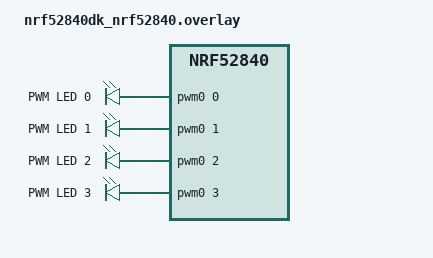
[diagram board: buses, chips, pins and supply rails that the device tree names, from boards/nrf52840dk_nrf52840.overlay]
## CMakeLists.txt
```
#-------------------------------------------------------------------------------
# Zephyr Example Application
#
# Copyright (c) 2021 Nordic Semiconductor ASA
# SPDX-License-Identifier: Apache-2.0

cmake_minimum_required(VERSION 3.13.1)
find_package(Zephyr REQUIRED HINTS $ENV{ZEPHYR_BASE})

project(app LANGUAGES C)

zephyr_include_directories(src)

target_sources(app PRIVATE src/main.c)
target_sources(app PRIVATE src/Alien_thing.c)
```

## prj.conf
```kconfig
# Copyright (c) 2021 Nordic Semiconductor ASA
# SPDX-License-Identifier: Apache-2.0
#
# This file contains selected Kconfig options for the application.

CONFIG_GPIO=y
CONFIG_PWM=y
CONFIG_SMF=y

CONFIG_DISPLAY=y
CONFIG_LVGL=y

CONFIG_LV_Z_MEM_POOL_SIZE=16384
CONFIG_MAIN_STACK_SIZE=4096

CONFIG_ENTROPY_GENERATOR=y

CONFIG_SYSTEM_WORKQUEUE_STACK_SIZE=2048
CONFIG_BT=y
CONFIG_BT_PERIPHERAL=y
CONFIG_BT_DEVICE_NAME="0591 EIE BLE Peripheral"
```

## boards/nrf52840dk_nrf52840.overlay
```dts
/ {
    pwmleds {
        compatible = "pwm-leds";
        pwm_led0: pwm_led_0 {
            pwms = <&pwm0 0 PWM_MSEC(20) PWM_POLARITY_NORMAL>;
            label = "PWM LED 0";
        };
        pwm_led1: pwm_led_1 {
            pwms = <&pwm0 1 PWM_MSEC(20) PWM_POLARITY_NORMAL>;
            label = "PWM LED 1";
        };
        pwm_led2: pwm_led_2 {
            pwms = <&pwm0 2 PWM_MSEC(20) PWM_POLARITY_NORMAL>;
            label = "PWM LED 2";
        };
        pwm_led3: pwm_led_3 {
            pwms = <&pwm0 3 PWM_MSEC(20) PWM_POLARITY_NORMAL>;
            label = "PWM LED 3";
        };
    };

    zephyr, user {
        dcx_gpios = <&gpiol 11 GPIO_ACTIVE_HIGH>;
    };

    arduino_spi {
        cs-gpios = <&gpio1 12 GPIO_ACTIVE_LOW>;
    };

    aliases {
        pwm-led0 = &pwm_led0;
        pwm-led1 = &pwm_led1;
        pwm-led2 = &pwm_led2;
        pwm-led3 = &pwm_led3;
    };
};

&pinctrl { 
    pwm0_default: pwm0_default {
		group1 {
			psels = 
                <NRF_PSEL(PWM_OUT0, 0, 13)>, 
                <NRF_PSEL(PWM_OUT1, 0, 14)>, 
                <NRF_PSEL(PWM_OUT2, 0, 15)>, 
                <NRF_PSEL(PWM_OUT3, 0, 16)>;
			nordic,invert;
		};
	};

    pwm0_sleep: pwm0_sleep {
		group1 {
			psels = 
                <NRF_PSEL(PWM_OUT0, 0, 13)>, 
                <NRF_PSEL(PWM_OUT1, 0, 14)>, 
                <NRF_PSEL(PWM_OUT2, 0, 15)>, 
                <NRF_PSEL(PWM_OUT3, 0, 16)>;
			low-power-enable;
		};
	};
};
```

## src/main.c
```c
/**
 * @file main.c
 */

#include <inttypes.h>

#include <zephyr/kernel.h>
#include <zephyr/sys/printk.h>
#include <zephyr/device.h>
#include <zephyr/drivers/display.h>
#include <zephyr/random/random.h>

#include <stdio.h>
#include <string.h>
#include <zephyr/bluetooth/bluetooth.h>
#include <zephyr/bluetooth/conn.h>
#include <zephyr/bluetooth/gatt.h>
#include <zephyr/bluetooth/hci.h>
#include <zephyr/bluetooth/uuid.h>
#include <zephyr/devicetree.h>
#include <zephyr/drivers/gpio.h>
#include <zephyr/settings/settings.h>

#include <lvgl.h>

#include "BTN.h"
#include "LED.h"

#define SLEEP_MS 1

// BLE UUIDs
#define BLE_SERVICE_UUID BT_UUID_128_ENCODE(0x12345678, 0x1234, 0x5678, 0x1234, 0x56789abcdef0)
#define BLE_CHARACTERISTIC_UUID BT_UUID_128_ENCODE(0x12345678, 0x1234, 0x5678, 0x1234, 0x56789abcdef1)

#define BLE_CHARACTERISTIC_VALUE_SIZE 20

// Advertising packets
static const struct bt_data ble_advertising_data[] = {
  BT_DATA_BYTES(BT_DATA_FLAGS, (BT_LE_AD_GENERAL | BT_LE_AD_NO_BREDR)),
  BT_DATA(BT_DATA_NAME_COMPLETE, CONFIG_BT_DEVICE_NAME, sizeof(CONFIG_BT_DEVICE_NAME)),
};

// Characteristic data buffer (initial value)
static uint8_t ble_characteristic_value[BLE_CHARACTERISTIC_VALUE_SIZE + 1]= {"S", "t", "a", "r", "t", "!"}; // Initial value of characteristic

// Service & characteristic description
static const struct bt_uuid_128 ble_service_uuid = BT_UUID_INIT_128(BLE_SERVICE_UUID);
static const struct bt_uuid_128 ble_characteristic_uuid = BT_UUID_INIT_128(BLE_CHARACTERISTIC_UUID);

static const struct device* display_dev = DEVICE_DT_GET(DT_CHOSEN(zephyr_display));
static lv_obj_t* screen = NULL;

/* POTHOLE */
static int16_t potholeHealth = 500;
static uint8_t potholeCooldown = 200;

/* OXYGEN */
static int8_t oxygens[] = {100, 100, 100, 100};
static uint8_t oxygenCooldown = 118;
static uint8_t numberOfLEDsOn = 4;
static uint8_t oxygenSubtract = 1;
static enum btn_id_t buttons[] = {BTN0, BTN1, BTN2, BTN3};

static void updatePothole();
static void updateOxygen();

static void pothole_Event(lv_event_t* e);

/* BLE FUNCTIONS */
static ssize_t ble_characteristic_read_cb(struct bt_conn* conn, const struct bt_gatt_attr* attr,
    void* buf, uint16_t len, uint16_t offset);

static ssize_t ble_characteristic_write_cb(struct bt_conn* conn, const struct bt_gatt_attr* attr,
    const void* buf, uint16_t len, uint16_t offset, uint8_t flags);

static void ble_service_notify();

BT_GATT_SERVICE_DEFINE(
  ble_service, // Name of struct with config
  BT_GATT_PRIMARY_SERVICE(&ble_service_uuid), // setting the service UUID

  // Separate service for notify subscription
  BT_GATT_CHARACTERISTIC(
    &ble_characteristic_uuid.uuid,  // Setting the characteristic UUID
    BT_GATT_CHRC_READ | BT_GATT_CHRC_NOTIFY | BT_GATT_CHRC_WRITE,  // Possible operations
    BT_GATT_PERM_READ | BT_GATT_PERM_WRITE,  // Permissions that connecting devices have
    ble_characteristic_read_cb,     // Callback for when this characteristic is read from
    ble_characteristic_write_cb,    // Callback for when this characteristic is written to
    ble_characteristic_value    // Initial data stored in this characteristic
  ),

  BT_GATT_CCC(  // Client characteristic configuration for the above custom characteristic
    NULL,     // Callback for when this characteristic is changed
    BT_GATT_PERM_READ | BT_GATT_PERM_WRITE  // Permissions that connecting devices have
  ),
);

int main(void) {
  int result = bt_enable(NULL);

  if (result) {
    printk("Bluetooth init failed (err %d)\n", result);
    return 0;
  }

  result = bt_le_adv_start(BT_LE_ADV_CONN_FAST_1, ble_advertising_data, ARRAY_SIZE(ble_advertising_data), 
    NULL, 0);

  if (result) {
    printk("Bluetooth init failed (err %d)\n", result);
    return 0;
  }

  if (!device_is_ready(display_dev)) {
    printk("Display device not found\n");
    return 0;
  }

  screen = lv_screen_active();

  if (screen == NULL) {
    printk("Failed to get active screen\n");
    return 0;
  }

  if (0 > BTN_init()) {
    return 0;
  }
  if (0 > LED_init()) {
    return 0;
  }

  /* POTHOLE WINDOW */
  LV_IMAGE_DECLARE(Alien_thing);

  lv_obj_t* btn = lv_imgbtn_create(screen);
  lv_imgbtn_set_src(btn, LV_IMGBTN_STATE_RELEASED, NULL, &Alien_thing, NULL);   // Set image
  lv_obj_add_event_cb(btn, pothole_Event, LV_EVENT_ALL, NULL);
  lv_obj_align(btn, LV_ALIGN_CENTER, 0, 0);                               

  lv_obj_t * label = lv_label_create(btn);
  lv_obj_center(label);
  lv_label_set_text(label, "");     // Remove text from button

  display_blanking_off(display_dev);

  while (1) {
    k_msleep(SLEEP_MS);

    lv_timer_handler();

    updatePothole();
    updateOxygen();

    potholeCooldown--;

    ble_service_notify();
  }
  return 0;
}

/* SUBTRACT POTHOLE HEALTH */
static void updatePothole() {
  if (potholeCooldown > 0) {
    return; // Skip if cooldown is active
  }

  printk("Pothole Health: %i\n", potholeHealth);
  
  potholeCooldown = 200; // Reset cooldown

  uint8_t a;
  
  if (potholeHealth <= 310) {
    a = sys_rand8_get() % 10;   // Get a random number between 0 and 9
  }
  else {
    a = sys_rand8_get() % 5;   // Get a random number between 0 and 4
  }

  if (potholeHealth > 0) {
    potholeHealth -= a;
  }
  if (potholeHealth < 0) {
    potholeHealth = 0;

    // GAME OVER
  }
}

/* SUBTRACT OXYGEN */
static void updateOxygen() {
  oxygenCooldown--;

  if (oxygenCooldown <= 0) {
    oxygenCooldown = 118;

    // Count how many LEDs are on
    numberOfLEDsOn = 0;

    // Decrease oxygen levels
    for (int i = 0; i < 4; i++) {
      if (oxygens[i] > 0) {
        oxygens[i] -= oxygenSubtract;
        numberOfLEDsOn++;
      }
      if (oxygens[i] < 0) oxygens[i] = 0;
    }

    // Speed up oxygen decrease based on number of LEDs on
    if (numberOfLEDsOn <= 1) {
      // GAME OVER
    }
    else if (numberOfLEDsOn == 2) {
      oxygenSubtract = 3;
    }
    else {
      oxygenSubtract = 1;
    }

    // Increase oxygen when buttons pressed
    for (int i = 0; i < 4; i++) {
      enum btn_id_t button = buttons[i];

      if (BTN_is_pressed(button) && oxygens[i] < 100) {
        if (oxygens[i] <= 0) {
          numberOfLEDsOn++;
        }

        oxygens[i] += 10;
      }
    }
  }

  // Update LED brightness based on oxygen levels
  LED_pwm(LED0, oxygens[0]);
  LED_pwm(LED1, oxygens[1]);
  LED_pwm(LED2, oxygens[2]);
  LED_pwm(LED3, oxygens[3]);
}

/* POTHOLE EVENT HANDLER */
static void pothole_Event(lv_event_t* e) {
  // Handle events here
  lv_event_code_t code = lv_event_get_code(e);

  if (code == LV_EVENT_CLICKED && potholeHealth < 500) {
    // Handle click event
    potholeHealth += 25; // Increase health when clicked

    if (potholeHealth > 500) {
      potholeHealth = 500; // Cap health at 500
    }
  }
}

// Read callback (send current stored value in characteristic)
static ssize_t ble_characteristic_read_cb(struct bt_conn* conn, const struct bt_gatt_attr* attr,
    void* buf, uint16_t len, uint16_t offset) {
      const char* value = attr->user_data;

      return bt_gatt_attr_read(conn, attr, buf, len, offset, value, strlen(value));
}

// Write callback (save to characteristic data buffer)
static ssize_t ble_characteristic_write_cb(struct bt_conn* conn, const struct bt_gatt_attr* attr,
    const void* buf, uint16_t len, uint16_t offset,
    uint8_t flags) {

  uint8_t* value_ptr = attr->user_data;

  // Check for valid offset and length
  if (offset + len > BLE_CHARACTERISTIC_VALUE_SIZE) {
    return BT_GATT_ERR(BT_ATT_ERR_INVALID_OFFSET);
  }

  memcpy(value_ptr + offset, buf, len);
  value_ptr[offset + len] = 0;

  return len;
}

static void ble_service_notify() {
  bt_gatt_notify(NULL, &ble_service.attrs[2], ble_characteristic_value, strlen(ble_characteristic_value));
}
```

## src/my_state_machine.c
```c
#include <zephyr/smf.h>

#include "LED.h"
#include "my_state_machine.h"

// Function Prototypes

static void led_on_state_entry(void* o);
static enum smf_state_result led_on_state_run(void* o);
static void led_off_state_entry(void* o);
static enum smf_state_result led_off_state_run(void* o);

// Typedefs
enum led_state_machine_states {
    LED_ON_STATE,
    LED_OFF_STATE
};

typedef struct {
    // COntext variable used by zephyr to track state machine state. Must be first
    struct smf_ctx ctx;

    uint16_t count;
} led_state_object_t;

// Local Variables
static const struct smf_state led_states[] = {
    [LED_ON_STATE] = SMF_CREATE_STATE(led_on_state_entry, led_on_state_run, NULL, NULL, NULL),
    [LED_OFF_STATE] = SMF_CREATE_STATE(led_off_state_entry, led_off_state_run, NULL, NULL, NULL)
};

static led_state_object_t led_state_object;

void state_machine_init() 
{
    led_state_object.count = 0;
    smf_set_initial(SMF_CTX(&led_state_object), &led_states[LED_ON_STATE]);
}

int state_machine_run() 
{
    return smf_run_state(SMF_CTX(&led_state_object));
}

static void led_on_state_entry(void* o) 
{
    LED_set(LED0, LED_ON);
}

static enum smf_state_result led_on_state_run(void* o)
{
    if (led_state_object.count > 500) {
        led_state_object.count = 0;
        smf_set_state(SMF_CTX(&led_state_object), &led_states[LED_OFF_STATE]);
    }
    else
    {
        led_state_object.count++;
    }

    return SMF_EVENT_HANDLED;
}

static void led_off_state_entry(void* o)
{
    LED_set(LED0, LED_OFF);
}

static enum smf_state_result led_off_state_run(void* o)
{
    if (led_state_object.count > 500)
    {
        led_state_object.count = 0;
        smf_set_state(SMF_CTX(&led_state_object), &led_states[LED_ON_STATE]);
    }
    else
    {
        led_state_object.count++;
    }

    return SMF_EVENT_HANDLED;
}
```

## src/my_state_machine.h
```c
/*
@file my_state_machine.h
*/

#ifndef MY_STATE_MACHINE_H
#define MY_STATE_MACHINE_H

void state_machine_init();

int state_machine_run();

#endif // MY_STATE_MACHINE_H
```

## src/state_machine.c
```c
#include <zephyr/smf.h>

#include "string.h"
#include "BTN.h"
#include "LED.h"
#include "string.h"
#include <math.h>

#include "state_machine.h"

/*
    FUNCTION PROTOTYPES
*/
static void enter_code_entry(void* o);
static enum smf_state_result enter_code_run(void* o);

static void save_string_entry(void* o);
static enum smf_state_result save_string_run(void* o);

static void send_monitor_entry(void* o);
static enum smf_state_result send_monitor_run(void* o);

static void on_hold_entry(void* o);
static enum smf_state_result on_hold_run(void* o);

/*
    TYPEDEFS (enum)
*/
enum machine_states {
    ENTER_CODE,     // S0
    SAVE_STRING,    // S1
    SEND_MONITOR,   // S2
    ON_HOLD         // S3
};

// Contains variables and current state
typedef struct {
    struct smf_ctx ctx;

    uint8_t string_buffer[100]; // stores string input
    uint8_t current_code;       // stores current code input 
    int code_index;             // index for code input (0 to 7)
    int string_index;           // index for string input (0 to 99)
    bool LED0_state, LED1_state;

    // For ON_HOLD state
    uint8_t current_duty_cycle;
    enum machine_states previous_state;
    int hold_duration_direction;          // in miliseconds / +-1
    int counter;                          // miliseconds counter

} state_machine_t;

/*
    Local Variables
*/
static const struct smf_state states[] = {
    [ENTER_CODE] = SMF_CREATE_STATE(enter_code_entry, enter_code_run, NULL, NULL, NULL),
    [SAVE_STRING] = SMF_CREATE_STATE(save_string_entry, save_string_run, NULL, NULL, NULL),
    [SEND_MONITOR] = SMF_CREATE_STATE(send_monitor_entry, send_monitor_run, NULL, NULL, NULL),
    [ON_HOLD] = SMF_CREATE_STATE(on_hold_entry, on_hold_run, NULL, NULL, NULL),
};

static state_machine_t machine;

void state_machine_init() {
    // Initialize variables
    memset(machine.string_buffer, 0, sizeof(machine.string_buffer));
    machine.current_code = 0;
    machine.code_index = 7;
    machine.string_index = 0;
    machine.LED0_state = false, machine.LED1_state = false;
    
    machine.current_duty_cycle = 0;
    machine.previous_state = ENTER_CODE;
    machine.hold_duration_direction = 0;
    machine.counter = 0;

    // Initial state
    smf_set_initial(SMF_CTX(&machine), &states[ENTER_CODE]);
}

int state_machine_run() {
    return smf_run_state(SMF_CTX(&machine));
}

/*
    Additional Functions
*/
void add_to_code(int bit){
    // Add code and increase index
    if (machine.code_index >= 0) {
        machine.current_code += bit * pow(2, machine.code_index);

        machine.code_index--;

        // LED2 on once
        if (machine.code_index == -1)
            LED_set(LED2, true);
    }
}

void clear_string() {
    if (BTN_check_clear_pressed(BTN2)) {
        machine.string_index = 0;
        memset(machine.string_buffer, 0, sizeof(machine.string_buffer));

        smf_set_state(SMF_CTX(&machine), &states[ENTER_CODE]);
    }
}

void set_all_pwm(){
    LED_pwm(LED0, machine.current_duty_cycle);
    LED_pwm(LED1, machine.current_duty_cycle);
    LED_pwm(LED2, machine.current_duty_cycle);
    LED_pwm(LED3, machine.current_duty_cycle);
}

void add_hold_duration(enum machine_states state) {
    if (BTN_is_pressed(BTN0) && BTN_is_pressed(BTN1)) {
        machine.hold_duration_direction++;
    }
    else if (machine.hold_duration_direction != 0){
        // Reset duration counter
        machine.hold_duration_direction = 0;
    }

    // Check if held for 3s and switch to ON_HOLD
    if (machine.hold_duration_direction >= 3000) {
        machine.previous_state = state;

        smf_set_state(SMF_CTX(&machine), &states[ON_HOLD]);
    }
}


/*
    STATE: ENTER_CODE
*/
static void enter_code_entry(void* o) {
    LED_blink(LED3, LED_1HZ);

    // LED2 on once
    if (machine.code_index == -1)
        LED_set(LED2, true);
}

static enum smf_state_result enter_code_run(void* o) {
    add_hold_duration(ENTER_CODE);

    // Turn on LED0 when BTN0 pressed -----------------
    if (BTN_is_pressed(BTN0) && !machine.LED0_state) {
        LED_set(LED0, true);

        machine.LED0_state = true;

        add_to_code(0);
    }
    // Turn off LED0 when BTN0 released
    else if (!BTN_is_pressed(BTN0) && machine.LED0_state) {
        LED_set(LED0, false);

        machine.LED0_state = false;
    }
    
    // Turn on LED1 when BTN1 pressed -----------------
    if (BTN_is_pressed(BTN1) && !machine.LED1_state) {
        LED_set(LED1, true);

        machine.LED1_state = true;

        add_to_code(1); 
    }
    // Turn off LED1 when BTN1 released
    else if (!BTN_is_pressed(BTN1) && machine.LED1_state) {
        LED_set(LED1, false);

        machine.LED1_state = false;
    }

    // Clear code when BTN2 pressed ------------------
    if (BTN_check_clear_pressed(BTN2)) {
        // Turn off LED2
        if (machine.code_index == -1)
            LED_set(LED2, false);

        machine.current_code = 0;
        machine.code_index = 7;
    }

    // Save code when BTN3 pressed and 8 bits entered -------------------
    if (BTN_check_clear_pressed(BTN3) && machine.code_index == -1) {
        machine.string_buffer[machine.string_index] = machine.current_code;

        machine.string_index++;

        // Reset code variables
        machine.current_code = 0;
        machine.code_index = 7;

        // Turn off LED2
        LED_set(LED2, false);

        smf_set_state(SMF_CTX(&machine), &states[SAVE_STRING]);
    }

    return SMF_EVENT_HANDLED;
}


/*
    STATE: SAVE_STRING
*/
static void save_string_entry(void* o) {
    LED_blink(LED3, LED_4HZ);
}

static enum smf_state_result save_string_run(void* o) {
    add_hold_duration(SAVE_STRING);

    // Turn on LED0 when BTN0 pressed -----------------
    if (BTN_is_pressed(BTN0) && !machine.LED0_state) {
        LED_set(LED0, true);

        machine.LED0_state = true;

        add_to_code(0);
        
        // Go back to enter code state
        smf_set_state(SMF_CTX(&machine), &states[ENTER_CODE]);
    }
    // Turn off LED0 when BTN0 released
    else if (!BTN_is_pressed(BTN0) && machine.LED0_state) {
        LED_set(LED0, false);

        machine.LED0_state = false;
    }
    
    // Turn on LED1 when BTN1 pressed -----------------
    if (BTN_is_pressed(BTN1) && !machine.LED1_state) {
        LED_set(LED1, true);

        machine.LED1_state = true;

        add_to_code(1); 

        // Go back to enter code state
        smf_set_state(SMF_CTX(&machine), &states[ENTER_CODE]);
    }
    // Turn off LED1 when BTN1 released
    else if (!BTN_is_pressed(BTN1) && machine.LED1_state) {
        LED_set(LED1, false);

        machine.LED1_state = false;
    }

    // Reset string when BTN2 pressed ------------------
    clear_string();

    // Save string when BTN3 pressed -------------------
    if (BTN_check_clear_pressed(BTN3)) {
        smf_set_state(SMF_CTX(&machine), &states[SEND_MONITOR]);
    }

    return SMF_EVENT_HANDLED;
}


/*
    STATE: SEND_MONITOR
*/
static void send_monitor_entry(void* o) {
    LED_blink(LED3, LED_16HZ);
}

static enum smf_state_result send_monitor_run(void* o) {
    add_hold_duration(SEND_MONITOR);

    // Turn on LED0 when BTN0 pressed -----------------
    if (BTN_is_pressed(BTN0) && !machine.LED0_state) {
        LED_set(LED0, true);

        machine.LED0_state = true;
    }
    // Turn off LED0 when BTN0 released
    else if (!BTN_is_pressed(BTN0) && machine.LED0_state) {
        LED_set(LED0, false);

        machine.LED0_state = false;
    }
    
    // Turn on LED1 when BTN1 pressed -----------------
    if (BTN_is_pressed(BTN1) && !machine.LED1_state) {
        LED_set(LED1, true);

        machine.LED1_state = true;
    }
    // Turn off LED1 when BTN1 released
    else if (!BTN_is_pressed(BTN1) && machine.LED1_state) {
        LED_set(LED1, false);

        machine.LED1_state = false;
    }

    // Clear string when BTN2 pressed ------------------
    clear_string();

    // Send to serial monitor when BTN3 pressed -------------------
    if (BTN_check_clear_pressed(BTN3)) {
        printk("String: ");

        // Use char pointer to print
        char* char_ptr = (char*) machine.string_buffer;

        printk("%s", char_ptr);

        printk("\n");
    }

    return SMF_EVENT_HANDLED;
}

/*
    STATE: ON_HOLD
*/
static void on_hold_entry(void* o) {
    set_all_pwm();

    machine.counter = 1015;
}

static enum smf_state_result on_hold_run(void* o) {
    // Main loop start after a short delay 
    if (machine.counter <= 15) {
        // Change direction
        if (machine.current_duty_cycle >= 100) {
            machine.hold_duration_direction = -1;
        }
        else if (machine.current_duty_cycle <= 0) {
            machine.hold_duration_direction = 1;
        }

        // Slows down the pulsing
        if (machine.counter >= 15) {
            machine.current_duty_cycle += machine.hold_duration_direction;
            machine.counter = 0;
        }
        
        machine.counter++;
        set_all_pwm();

        // Switch to previous state when any button pressed
        if (BTN_is_pressed(BTN0) ||
            BTN_is_pressed(BTN1) || 
            BTN_is_pressed(BTN2) || 
            BTN_is_pressed(BTN3)) { 
                machine.current_duty_cycle = 0;
                machine.counter = 0;
                
                set_all_pwm();

                machine.LED0_state = false, machine.LED1_state = false;

                smf_set_state(SMF_CTX(&machine), &states[machine.previous_state]);
        }
    }
    else {
        machine.counter--;
    }

    return SMF_EVENT_HANDLED;
}
```

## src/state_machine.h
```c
#ifndef STATE_MACHINE_H
#define STATE_MACHINE_H

void state_machine_init();

int state_machine_run();

#endif /* STATE_MACHINE_H */
```
